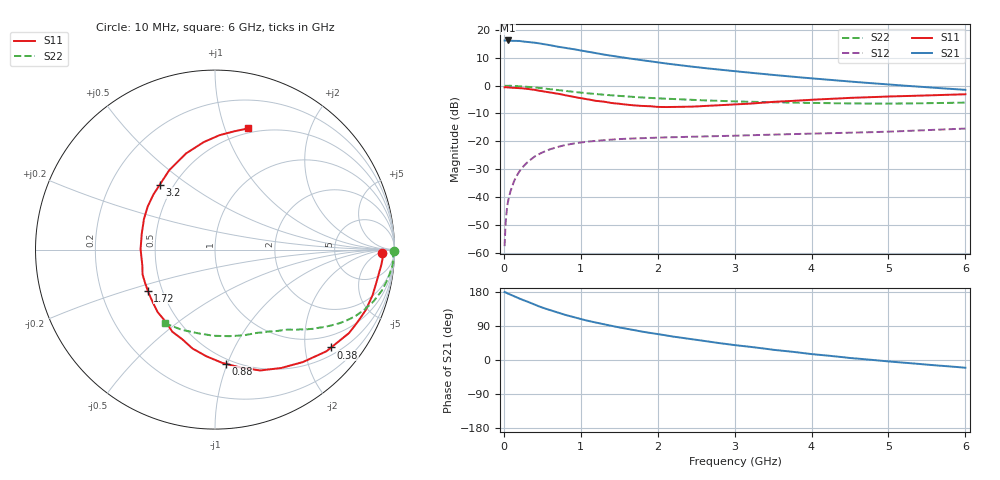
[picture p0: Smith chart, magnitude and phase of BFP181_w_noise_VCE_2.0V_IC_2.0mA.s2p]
! Infineon Technologies  Discrete & RF Semiconductors
! BFP181
! VCE = 2.0 V,  IC =  2.0 mA
! Common Emitter S-Parameters:  Jan 2016
# GHz  S  MA  R  50
!  f  S11  S21  S12  S22
! GHz  MAG  ANG  MAG  ANG  MAG  ANG  MAG  ANG
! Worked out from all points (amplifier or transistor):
!   210 points, 10 MHz to 6 GHz, reference 50 ohm
!   highest |S21| = 16.2 dB at 50 MHz (marker M1)
!   |S21| within 3 dB of that: start of sweep to 879.8 MHz
!   unconditionally stable (mu >= 1): 2.394 GHz to end of sweep
!   at 185 MHz: K = 0.10, MSG = 23.8 dB, |S12| = -31.6 dB
!   at 1.52 GHz: K = 0.70, MSG = 14.7 dB, |S12| = -19.2 dB
!   at 6 GHz: K = 1.15, MAG = 4.6 dB, |S12| = -15.4 dB
!   lowest NFmin = 1.35 dB at 450 MHz
!   S11 on the Smith chart (normalised r, x): 10 MHz: 25, -8; 380 MHz: 0.67, -2.59; 880 MHz: 0.46, -0.99; 1.72 GHz: 0.42, -0.24; 3.2 GHz: 0.42, +0.39; 6 GHz: 0.45, +1.20
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0.01  0.9302 -1.3  6.469 179.4  0.0013 80.8  0.9969 -0.4
0.025  0.936 -2.7  6.472 178.3  0.0036 89.4  0.9902 -1.2
0.05  0.9298 -5.5  6.487 175.6  0.0076 88.5  0.9938 -2.5
0.11  0.917 -11.9  6.393 170.4  0.0158 82.0  0.9918 -5.4
0.2  0.905 -21.8  6.361 162.4  0.0284 76.6  0.9768 -9.6
0.38  0.8463 -40.1  5.963 147.6  0.0507 66.1  0.9333 -17.4
0.5  0.7952 -52.0  5.629 138.2  0.0629 59.5  0.8962 -22.0
0.6  0.7561 -60.7  5.346 131.5  0.0717 54.7  0.8653 -25.4
0.7  0.719 -69.5  5.017 125.1  0.079 50.8  0.8337 -28.2
0.88  0.6392 -84.6  4.592 114.5  0.0897 44.1  0.7809 -32.5
1.02  0.589 -96.2  4.233 107.0  0.0957 39.9  0.7441 -35.5
1.1  0.5653 -102.8  4.067 102.9  0.0988 37.9  0.725 -36.9
1.3  0.5156 -117.5  3.618 94.3  0.1046 33.0  0.686 -40.2
1.5  0.4727 -132.5  3.292 85.9  0.1093 29.9  0.6524 -42.9
1.72  0.4388 -148.6  2.963 77.9  0.1123 26.8  0.6223 -45.8
2.02  0.4135 -169.0  2.593 67.8  0.1164 23.9  0.5892 -49.5
2.44  0.4189 165.4  2.2 54.9  0.121 20.4  0.5555 -55.1
3.1  0.4664 134.3  1.763 37.1  0.1269 17.1  0.5162 -64.6
3.2  0.4746 130.4  1.708 34.8  0.1282 16.8  0.5126 -66.2
4.1  0.5663 104.5  1.315 13.8  0.138 13.8  0.4859 -82.7
5.1  0.6427 86.4  1.025 -5.4  0.1505 11.8  0.4759 -103.9
6  0.6996 74.8  0.84 -20.4  0.1691 9.1  0.4954 -123.9
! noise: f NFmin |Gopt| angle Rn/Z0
0.45  1.35  0.6  17  0.4
0.9  1.45  0.5  36  0.4
1.8  1.8  0.31  80  0.37
